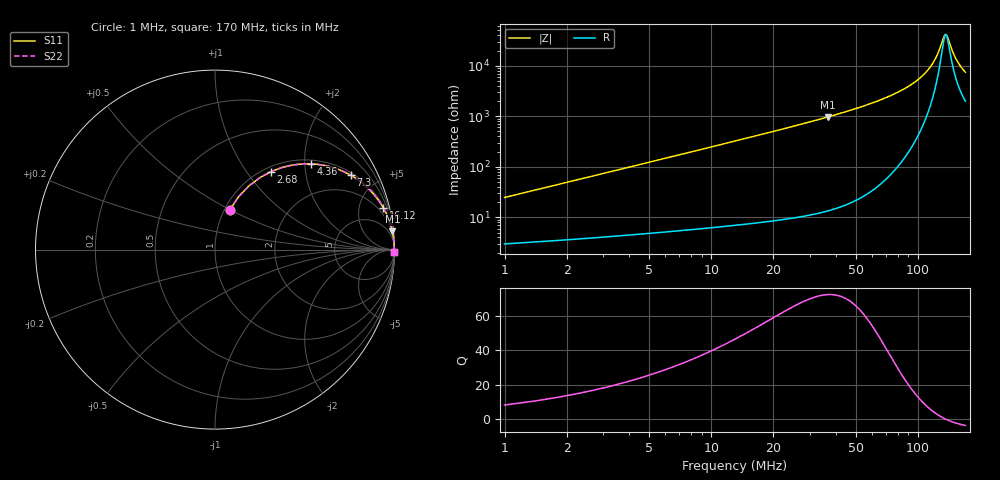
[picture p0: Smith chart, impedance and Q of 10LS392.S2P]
! Coilcraft 1008LS-392 Chip Inductor
! 5 August 2002
# MHZ S MA R 50
!Freq  MagS11  AngS11  MagS21  AngS21  MagS12  AngS12  MagS22  AngS22
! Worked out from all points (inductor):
!   404 points, 1 MHz to 170 MHz, reference 50 ohm
!   read as one part in series: L = 3.9 uH near 1.84 MHz
!   highest Q = 72.4 at 36.7 MHz (marker M1), where L = 4.2 uH
!   self-resonance near 136.7 MHz
!   S11 on the Smith chart (normalised r, x): 1 MHz: 1.06, +0.49; 2.68 MHz: 1.08, +1.31; 4.36 MHz: 1.09, +2.14; 7.3 MHz: 1.11, +3.59; 16.12 MHz: 1.15, +8.01; 170 MHz: open
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1  0.2332 69.7  0.9448 -13.4  0.9448 -13.4  0.2332 69.7
1.84  0.4007 62.0  0.8858 -23.5  0.8858 -23.5  0.4007 62.0
2.68  0.5353 54.3  0.8134 -32.3  0.8134 -32.3  0.5353 54.3
4.36  0.7156 41.9  0.6685 -45.6  0.6685 -45.6  0.7156 41.9
5.62  0.7962 35.2  0.5768 -52.7  0.5768 -52.7  0.7962 35.2
7.3  0.8624 28.7  0.4805 -59.5  0.4805 -59.5  0.8624 28.7
10.66  0.9272 20.6  0.3527 -68.0  0.3527 -68.0  0.9272 20.6
16.12  0.9659 13.9  0.2411 -75.0  0.2411 -75.0  0.9659 13.9
29.56  0.9896 7.5  0.1302 -81.7  0.1302 -81.7  0.9896 7.5
36.7  0.9933 5.9  0.1025 -83.3  0.1025 -83.3  0.9933 5.9
57.7  0.9973 3.3  0.05793 -85.7  0.05793 -85.7  0.9973 3.3
85.84  0.9984 1.6  0.02874 -85.9  0.02874 -85.9  0.9984 1.6
101.8  0.9983 1.0  0.01787 -84.2  0.01787 -84.2  0.9983 1.0
113.98  0.9982 0.6  0.01103 -80.2  0.01103 -80.2  0.9982 0.6
123.64  0.998 0.3  0.006336 -71.1  0.006336 -71.1  0.998 0.3
134.98  0.9977 0.0  0.002477 -18.7  0.002477 -18.7  0.9977 0.0
137.92  0.9976 -0.0  0.002484 11.1  0.002484 11.1  0.9976 -0.0
142.12  0.9974 -0.1  0.003419 41.1  0.003419 41.1  0.9974 -0.1
148  0.9972 -0.3  0.005412 59.0  0.005412 59.0  0.9972 -0.3
153.88  0.997 -0.4  0.007567 66.5  0.007567 66.5  0.997 -0.4
161.44  0.9967 -0.6  0.01033 71.1  0.01033 71.1  0.9967 -0.6
170  0.9963 -0.7  0.01338 73.8  0.01338 73.8  0.9963 -0.7
